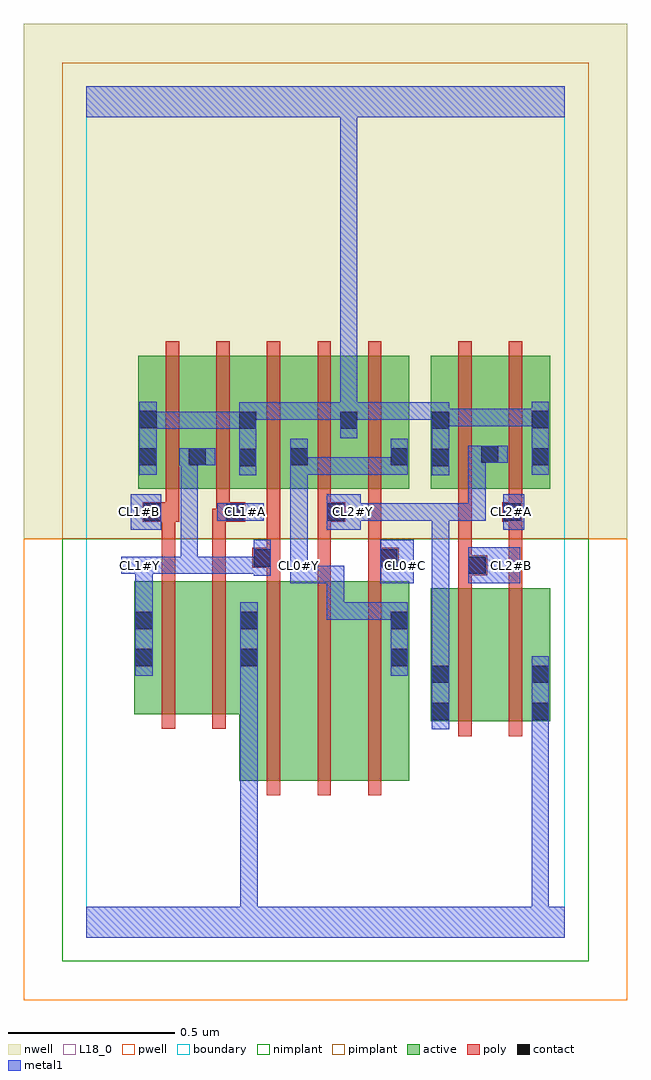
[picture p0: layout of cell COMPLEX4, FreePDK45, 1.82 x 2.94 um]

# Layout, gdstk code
import gdstk
lib = gdstk.Library(unit=1e-6, precision=1e-09)
def R(c, l, rs):  # rectangles x0, y0, x1, y1
    for r in rs: c.add(gdstk.rectangle(r[:2], r[2:], *l))
def A(c, l, x, y, w, h, nx, ny, dx, dy):  # array of equal rectangles
    R(c, l, [(x+i*dx, y+j*dy, x+i*dx+w, y+j*dy+h) for i in range(nx) for j in range(ny)])
active = (1, 0)
pwell = (2, 0)
nwell = (3, 0)
nimplant = (4, 0)
pimplant = (5, 0)
poly = (9, 0)
contact = (10, 0)
metal1 = (11, 0)
L18_0 = (18, 0)
boundary = (235, 0)

complex4 = lib.new_cell('COMPLEX4')
R(complex4, active, [(0.46,0.472,0.64,1.072), (0.64,0.472,0.792,1.072), (0.792,0.472,0.972,1.072), (0.912,0.556,0.972,1.072), (1.036,0.65,1.096,1.05), (1.036,0.65,1.216,1.05), (1.216,0.65,1.396,1.05), (1.336,0.65,1.396,1.05), (0.144,0.672,0.324,1.072), (0.324,0.672,0.52,1.072), (0.144,0.756,0.204,1.072), (0.46,0.756,0.52,0.984), (0.156,1.35,0.364,1.75), (0.156,1.35,0.216,1.644), (0.304,1.35,0.516,1.75), (0.456,1.35,0.67,1.75), (0.61,1.35,0.82,1.75), (0.76,1.35,0.972,1.75), (0.912,1.35,0.972,1.644), (1.036,1.35,1.096,1.75), (1.036,1.35,1.244,1.75), (1.184,1.35,1.396,1.75), (1.336,1.35,1.396,1.75), (0.456,1.414,0.516,1.644), (0.304,1.416,0.364,1.644), (0.61,1.416,0.67,1.644), (1.184,1.424,1.244,1.644), (0.76,1.448,0.82,1.75)])
R(complex4, pwell, [(-0.188,-0.188,1.628,1.2)])
R(complex4, nwell, [(-0.188,1.2,1.628,2.748)])
R(complex4, nimplant, [(-0.072,-0.072,1.512,1.2)])
R(complex4, pimplant, [(-0.072,1.2,1.512,2.632)])
A(complex4, poly, 0.544, 0.428, 0.04, 0.688, 3, 1, 0.152, 0)
A(complex4, poly, 0.24, 1.306, 0.04, 0.488, 5, 1, 0.152, 0)
R(complex4, poly, [(1.12,0.606,1.16,1.094), (1.272,0.606,1.312,1.094), (0.228,0.628,0.268,1.116), (0.38,0.628,0.42,1.116), (1.12,1.054,1.16,1.13), (1.272,1.054,1.312,1.29), (0.228,1.076,0.268,1.29), (0.38,1.076,0.42,1.29), (0.544,1.076,0.584,1.152), (0.696,1.076,0.736,1.29), (0.848,1.076,0.888,1.152), (1.12,1.09,1.206,1.15), (1.12,1.11,1.16,1.15), (1.12,1.11,1.16,1.15), (1.12,1.11,1.16,1.346), (0.5,1.112,0.584,1.172), (0.848,1.112,0.94,1.172), (0.544,1.132,0.584,1.172), (0.544,1.132,0.584,1.172), (0.544,1.132,0.584,1.346), (0.848,1.132,0.888,1.172), (0.848,1.132,0.888,1.172), (0.848,1.132,0.888,1.346), (0.17,1.25,0.28,1.31), (0.228,1.25,0.268,1.29), (0.228,1.25,0.268,1.29), (0.38,1.25,0.432,1.29), (0.392,1.25,0.432,1.29), (0.392,1.25,0.478,1.31), (0.696,1.25,0.736,1.29), (0.696,1.25,0.736,1.29), (0.696,1.25,0.78,1.31), (1.252,1.25,1.312,1.31), (1.272,1.25,1.312,1.29), (1.272,1.25,1.312,1.29), (0.24,1.27,0.28,1.346), (0.392,1.27,0.432,1.346), (0.696,1.27,0.736,1.346), (1.272,1.27,1.312,1.346), (1.12,1.306,1.16,1.794), (1.272,1.306,1.312,1.794)])
R(complex4, contact, [(1.04,0.654,1.092,0.706), (1.34,0.654,1.392,0.706), (1.04,0.766,1.092,0.818), (1.34,0.766,1.392,0.818), (0.148,0.816,0.2,0.868), (0.464,0.816,0.516,0.868), (0.916,0.816,0.968,0.868), (0.148,0.928,0.2,0.98), (0.464,0.928,0.516,0.98), (0.916,0.928,0.968,0.98), (1.15,1.094,1.202,1.146), (0.504,1.116,0.556,1.168), (0.884,1.116,0.936,1.168), (0.174,1.254,0.226,1.306), (0.422,1.254,0.474,1.306), (0.724,1.254,0.776,1.306), (1.256,1.254,1.308,1.306), (0.46,1.418,0.512,1.47), (1.04,1.418,1.092,1.47), (0.16,1.42,0.212,1.472), (0.308,1.42,0.36,1.472), (0.614,1.42,0.666,1.472), (0.916,1.42,0.968,1.472), (1.34,1.42,1.392,1.472), (1.188,1.428,1.24,1.48), (0.46,1.53,0.512,1.582), (0.764,1.53,0.816,1.582), (1.04,1.53,1.092,1.582), (0.16,1.532,0.212,1.584), (1.34,1.532,1.392,1.584)])
R(complex4, metal1, [(0,0,1.44,0.092), (0.464,0.04,0.516,0.092), (0.464,0.04,0.516,0.092), (0.464,0.04,0.516,0.092), (0.464,0.04,0.516,0.092), (0.464,0.04,0.516,0.092), (0.464,0.04,0.516,0.092), (0.464,0.04,0.516,0.84), (1.34,0.04,1.392,0.092), (1.34,0.04,1.392,0.092), (1.34,0.04,1.392,0.154), (1.34,0.102,1.392,0.154), (1.34,0.102,1.392,0.154), (1.34,0.102,1.392,0.154), (1.34,0.102,1.392,0.154), (1.34,0.102,1.392,0.154), (1.34,0.102,1.392,0.154), (1.34,0.102,1.392,0.154), (1.34,0.102,1.392,0.154), (1.34,0.102,1.392,0.154), (1.34,0.102,1.392,0.678), (1.04,0.626,1.092,0.846), (1.34,0.626,1.392,0.846), (0.148,0.788,0.2,1.008), (0.464,0.788,0.516,0.84), (0.464,0.788,0.516,0.84), (0.464,0.788,0.516,1.008), (0.916,0.788,0.968,1.008), (1.04,0.794,1.092,1.306), (0.148,0.956,0.2,1.146), (0.724,0.956,0.776,1.008), (0.724,0.956,0.968,1.008), (0.724,0.956,0.776,1.118), (0.916,0.956,0.968,1.008), (0.916,0.956,0.968,1.008), (0.614,1.066,0.776,1.118), (0.614,1.066,0.666,1.174), (0.724,1.066,0.776,1.118), (0.724,1.066,0.776,1.118), (0.724,1.066,0.776,1.118), (0.884,1.066,0.986,1.196), (1.15,1.066,1.306,1.174), (0.504,1.088,0.556,1.196), (0.106,1.094,0.214,1.146), (0.162,1.094,0.214,1.146), (0.162,1.094,0.214,1.146), (0.162,1.094,0.336,1.146), (0.284,1.094,0.336,1.146), (0.284,1.094,0.336,1.146), (0.284,1.094,0.336,1.146), (0.284,1.094,0.556,1.146), (0.284,1.094,0.336,1.472), (0.504,1.094,0.556,1.146), (0.504,1.094,0.556,1.146), (0.614,1.122,0.666,1.174), (0.614,1.122,0.666,1.174), (0.614,1.122,0.666,1.444), (0.134,1.226,0.226,1.334), (0.724,1.226,0.826,1.334), (1.254,1.226,1.318,1.334), (0.394,1.254,0.534,1.306), (0.774,1.254,0.826,1.306), (0.774,1.254,0.826,1.306), (0.774,1.254,0.936,1.306), (0.884,1.254,0.936,1.306), (0.884,1.254,0.936,1.306), (0.884,1.254,0.936,1.306), (0.884,1.254,1.092,1.306), (1.04,1.254,1.092,1.306), (1.04,1.254,1.092,1.306), (1.04,1.254,1.092,1.306), (1.04,1.254,1.196,1.306), (1.144,1.254,1.196,1.306), (1.144,1.254,1.202,1.306), (1.15,1.254,1.202,1.306), (1.15,1.254,1.202,1.48), (0.46,1.39,0.512,1.61), (1.04,1.39,1.092,1.61), (0.16,1.392,0.212,1.612), (0.614,1.392,0.776,1.444), (0.614,1.392,0.666,1.5), (0.724,1.392,0.776,1.444), (0.724,1.392,0.776,1.444), (0.724,1.392,0.776,1.444), (0.724,1.392,0.968,1.444), (0.916,1.392,0.968,1.444), (0.916,1.392,0.968,1.444), (0.916,1.392,0.968,1.5), (1.34,1.392,1.392,1.612), (0.28,1.42,0.388,1.472), (0.284,1.42,0.336,1.472), (0.284,1.42,0.336,1.472), (1.15,1.428,1.268,1.48), (0.764,1.502,0.816,1.61), (0.16,1.53,0.212,1.582), (0.16,1.53,0.212,1.582), (0.16,1.53,0.336,1.582), (0.284,1.53,0.336,1.582), (0.284,1.53,0.336,1.582), (0.284,1.53,0.336,1.582), (0.284,1.53,0.512,1.582), (1.04,1.538,1.196,1.59), (1.144,1.538,1.196,1.59), (1.144,1.538,1.202,1.59), (1.15,1.538,1.202,1.59), (1.15,1.538,1.392,1.59), (1.34,1.538,1.392,1.59), (1.34,1.538,1.392,1.59), (0.46,1.558,0.512,1.61), (0.46,1.558,0.512,1.61), (0.46,1.558,0.666,1.61), (0.614,1.558,0.666,1.61), (0.614,1.558,0.816,1.61), (0.764,1.558,0.816,1.61), (0.764,1.558,0.816,1.61), (0.764,1.558,0.816,1.61), (0.764,1.558,0.816,1.61), (0.764,1.558,0.816,1.61), (0.764,1.558,0.816,1.61), (0.764,1.558,0.816,1.61), (0.764,1.558,0.816,1.61), (0.764,1.558,0.816,1.61), (0.764,1.558,0.816,1.61), (0.764,1.558,0.816,1.61), (0.764,1.558,0.816,1.61), (0.764,1.558,0.816,1.61), (0.764,1.558,0.816,1.61), (0.764,1.558,0.816,1.61), (0.764,1.558,0.816,1.61), (0.764,1.558,0.816,1.61), (0.764,1.558,0.816,1.61), (0.764,1.558,0.982,1.61), (0.764,1.558,0.816,2.52), (0.93,1.558,0.982,1.61), (0.93,1.558,0.982,1.61), (0.93,1.558,0.982,1.61), (0.93,1.558,1.092,1.61), (0,2.468,1.44,2.56)])
A(complex4, L18_0, 0.614, 1.094, 0.052, 0.052, 3, 1, 0.32, 0)
A(complex4, L18_0, 0.134, 1.254, 0.052, 0.052, 3, 1, 0.32, 0)
R(complex4, L18_0, [(0,0,1.44,0.092), (0.464,0.04,0.516,0.092), (0.464,0.04,0.516,0.092), (0.464,0.04,0.516,0.092), (0.464,0.04,0.516,0.092), (0.464,0.04,0.516,0.092), (0.464,0.04,0.516,0.092), (0.464,0.04,0.516,0.84), (1.34,0.04,1.392,0.092), (1.34,0.04,1.392,0.092), (1.34,0.04,1.392,0.154), (1.34,0.102,1.392,0.154), (1.34,0.102,1.392,0.154), (1.34,0.102,1.392,0.154), (1.34,0.102,1.392,0.154), (1.34,0.102,1.392,0.154), (1.34,0.102,1.392,0.154), (1.34,0.102,1.392,0.154), (1.34,0.102,1.392,0.154), (1.34,0.102,1.392,0.154), (1.34,0.102,1.392,0.678), (1.04,0.626,1.092,0.846), (1.34,0.626,1.392,0.846), (0.148,0.788,0.2,1.008), (0.464,0.788,0.516,1.008), (0.464,0.788,0.516,0.84), (0.464,0.788,0.516,0.84), (0.916,0.788,0.968,1.008), (1.04,0.794,1.092,1.306), (0.148,0.956,0.2,1.146), (0.724,0.956,0.776,1.008), (0.724,0.956,0.776,1.118), (0.724,0.956,0.968,1.008), (0.916,0.956,0.968,1.008), (0.916,0.956,0.968,1.008), (0.614,1.066,0.666,1.174), (0.614,1.066,0.776,1.118), (0.724,1.066,0.776,1.118), (0.724,1.066,0.776,1.118), (0.724,1.066,0.776,1.118), (0.884,1.066,0.986,1.196), (1.15,1.066,1.306,1.174), (0.504,1.088,0.556,1.196), (0.106,1.094,0.214,1.146), (0.134,1.094,0.186,1.146), (0.162,1.094,0.214,1.146), (0.162,1.094,0.214,1.146), (0.162,1.094,0.336,1.146), (0.284,1.094,0.336,1.146), (0.284,1.094,0.336,1.146), (0.284,1.094,0.336,1.146), (0.284,1.094,0.336,1.472), (0.284,1.094,0.556,1.146), (0.504,1.094,0.556,1.146), (0.504,1.094,0.556,1.146), (0.614,1.122,0.666,1.174), (0.614,1.122,0.666,1.174), (0.614,1.122,0.666,1.444), (0.134,1.226,0.226,1.334), (0.724,1.226,0.826,1.334), (1.254,1.226,1.318,1.334), (0.394,1.254,0.534,1.306), (0.774,1.254,0.826,1.306), (0.774,1.254,0.826,1.306), (0.774,1.254,0.936,1.306), (0.884,1.254,0.936,1.306), (0.884,1.254,0.936,1.306), (0.884,1.254,0.936,1.306), (0.884,1.254,1.092,1.306), (1.04,1.254,1.092,1.306), (1.04,1.254,1.092,1.306), (1.04,1.254,1.092,1.306), (1.04,1.254,1.196,1.306), (1.144,1.254,1.196,1.306), (1.144,1.254,1.202,1.306), (1.15,1.254,1.202,1.306), (1.15,1.254,1.202,1.48), (1.254,1.254,1.306,1.306), (0.46,1.39,0.512,1.61), (1.04,1.39,1.092,1.61), (0.16,1.392,0.212,1.612), (0.614,1.392,0.666,1.5), (0.614,1.392,0.776,1.444), (0.724,1.392,0.776,1.444), (0.724,1.392,0.776,1.444), (0.724,1.392,0.776,1.444), (0.724,1.392,0.968,1.444), (0.916,1.392,0.968,1.444), (0.916,1.392,0.968,1.444), (0.916,1.392,0.968,1.5), (1.34,1.392,1.392,1.612), (0.28,1.42,0.388,1.472), (0.284,1.42,0.336,1.472), (0.284,1.42,0.336,1.472), (1.15,1.428,1.268,1.48), (0.764,1.502,0.816,1.61), (0.16,1.53,0.212,1.582), (0.16,1.53,0.212,1.582), (0.16,1.53,0.336,1.582), (0.284,1.53,0.336,1.582), (0.284,1.53,0.336,1.582), (0.284,1.53,0.336,1.582), (0.284,1.53,0.512,1.582), (1.04,1.538,1.196,1.59), (1.144,1.538,1.196,1.59), (1.144,1.538,1.202,1.59), (1.15,1.538,1.202,1.59), (1.15,1.538,1.392,1.59), (1.34,1.538,1.392,1.59), (1.34,1.538,1.392,1.59), (0.46,1.558,0.512,1.61), (0.46,1.558,0.512,1.61), (0.46,1.558,0.666,1.61), (0.614,1.558,0.666,1.61), (0.614,1.558,0.816,1.61), (0.764,1.558,0.816,1.61), (0.764,1.558,0.816,1.61), (0.764,1.558,0.816,1.61), (0.764,1.558,0.816,1.61), (0.764,1.558,0.816,1.61), (0.764,1.558,0.816,1.61), (0.764,1.558,0.816,1.61), (0.764,1.558,0.816,1.61), (0.764,1.558,0.816,1.61), (0.764,1.558,0.816,1.61), (0.764,1.558,0.816,1.61), (0.764,1.558,0.816,1.61), (0.764,1.558,0.816,1.61), (0.764,1.558,0.816,1.61), (0.764,1.558,0.816,1.61), (0.764,1.558,0.816,1.61), (0.764,1.558,0.816,1.61), (0.764,1.558,0.816,1.61), (0.764,1.558,0.816,2.52), (0.764,1.558,0.982,1.61), (0.93,1.558,0.982,1.61), (0.93,1.558,0.982,1.61), (0.93,1.558,0.982,1.61), (0.93,1.558,1.092,1.61), (0,2.468,1.44,2.56)])
R(complex4, boundary, [(0,0,1.44,2.56)])
complex4.add(gdstk.Label('CL0#C', (0.96,1.12), layer=11, texttype=0))
complex4.add(gdstk.Label('CL0#Y', (0.64,1.12), layer=11, texttype=0))
complex4.add(gdstk.Label('CL1#A', (0.48,1.28), layer=11, texttype=0))
complex4.add(gdstk.Label('CL1#B', (0.16,1.28), layer=11, texttype=0))
complex4.add(gdstk.Label('CL1#Y', (0.16,1.12), layer=11, texttype=0))
complex4.add(gdstk.Label('CL2#A', (1.28,1.28), layer=11, texttype=0))
complex4.add(gdstk.Label('CL2#B', (1.28,1.12), layer=11, texttype=0))
complex4.add(gdstk.Label('CL2#Y', (0.8,1.28), layer=11, texttype=0))

lib.write_gds('COMPLEX4.gds')
